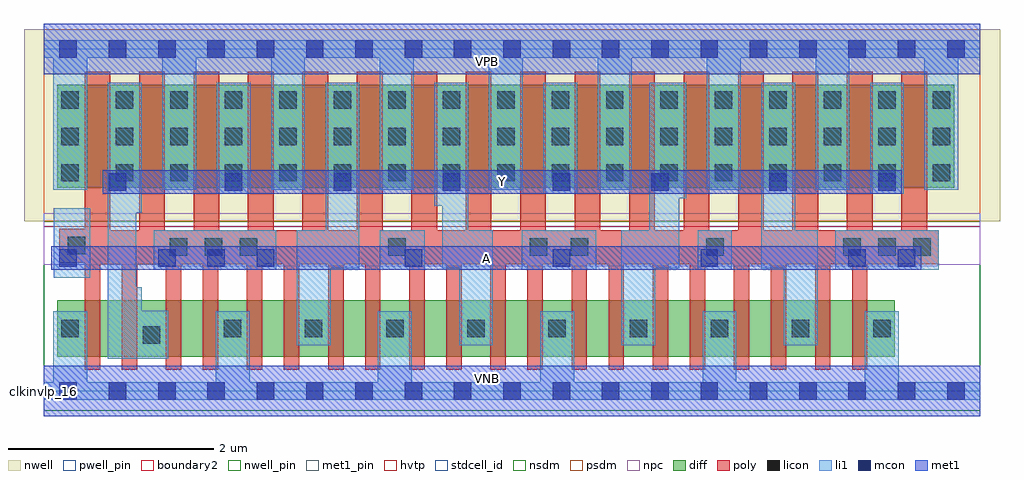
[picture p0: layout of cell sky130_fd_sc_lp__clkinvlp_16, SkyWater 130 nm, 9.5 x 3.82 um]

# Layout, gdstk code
import gdstk
lib = gdstk.Library(unit=1e-6, precision=1e-09)
def R(c, l, rs):  # rectangles x0, y0, x1, y1
    for r in rs: c.add(gdstk.rectangle(r[:2], r[2:], *l))
def A(c, l, x, y, w, h, nx, ny, dx, dy):  # array of equal rectangles
    R(c, l, [(x+i*dx, y+j*dy, x+i*dx+w, y+j*dy+h) for i in range(nx) for j in range(ny)])
def P(c, l, *ps):  # polygons
    for p in ps: c.add(gdstk.Polygon(p, *l))
nwell_pin = (64, 16)
nwell = (64, 20)
diff = (65, 20)
poly = (66, 20)
licon = (66, 44)
li1 = (67, 20)
mcon = (67, 44)
met1_pin = (68, 16)
met1 = (68, 20)
hvtp = (78, 44)
stdcell_id = (81, 4)
nsdm = (93, 44)
psdm = (94, 20)
npc = (95, 20)
pwell_pin = (122, 16)
boundary2 = (236, 0)

sky130_fd_sc_lp__clkinvl = lib.new_cell('sky130_fd_sc_lp__clkinvlp_16')
R(sky130_fd_sc_lp__clkinvl, nwell_pin, [(0,3.085,9.12,3.33)])
R(sky130_fd_sc_lp__clkinvl, nwell, [(-0.19,1.655,9.31,3.52)])
R(sky130_fd_sc_lp__clkinvl, diff, [(0.135,0.335,8.285,0.885), (0.135,1.98,8.865,2.98)])
P(sky130_fd_sc_lp__clkinvl, poly, [(8.715,1.565),(8.6,1.565),(8.6,3.11),(8.35,3.11),(8.35,1.565),(8.07,1.565),(8.07,3.11),(7.82,3.11),(7.82,1.565),(7.54,1.565),(7.54,3.11),(7.29,3.11),(7.29,1.565),(7.01,1.565),(7.01,3.11),(6.76,3.11),(6.76,1.565),(6.48,1.565),(6.48,3.11),(6.23,3.11),(6.23,1.565),(5.95,1.565),(5.95,3.11),(5.7,3.11),(5.7,1.565),(5.42,1.565),(5.42,3.11),(5.17,3.11),(5.17,1.565),(4.89,1.565),(4.89,3.11),(4.64,3.11),(4.64,1.565),(4.36,1.565),(4.36,3.11),(4.11,3.11),(4.11,1.565),(3.83,1.565),(3.83,3.11),(3.58,3.11),(3.58,1.565),(3.3,1.565),(3.3,3.11),(3.05,3.11),(3.05,1.565),(2.77,1.565),(2.77,3.11),(2.52,3.11),(2.52,1.565),(2.24,1.565),(2.24,3.11),(1.99,3.11),(1.99,1.565),(1.71,1.565),(1.71,3.11),(1.46,3.11),(1.46,1.565),(1.18,1.565),(1.18,3.11),(0.93,3.11),(0.93,1.565),(0.65,1.565),(0.65,3.11),(0.4,3.11),(0.4,1.58),(0.155,1.58),(0.155,1.25),(0.4,1.25),(0.4,0.205),(0.55,0.205),(0.55,1.235),(0.76,1.235),(0.76,0.205),(0.91,0.205),(0.91,1.235),(1.19,1.235),(1.19,0.205),(1.34,0.205),(1.34,1.235),(1.55,1.235),(1.55,0.205),(1.7,0.205),(1.7,1.235),(1.98,1.235),(1.98,0.205),(2.13,0.205),(2.13,1.235),(2.34,1.235),(2.34,0.205),(2.49,0.205),(2.49,1.235),(2.77,1.235),(2.77,0.205),(2.92,0.205),(2.92,1.235),(3.13,1.235),(3.13,0.205),(3.28,0.205),(3.28,1.235),(3.56,1.235),(3.56,0.205),(3.71,0.205),(3.71,1.235),(3.92,1.235),(3.92,0.205),(4.07,0.205),(4.07,1.235),(4.35,1.235),(4.35,0.205),(4.5,0.205),(4.5,1.235),(4.71,1.235),(4.71,0.205),(4.86,0.205),(4.86,1.235),(5.14,1.235),(5.14,0.205),(5.29,0.205),(5.29,1.235),(5.5,1.235),(5.5,0.205),(5.65,0.205),(5.65,1.235),(5.93,1.235),(5.93,0.205),(6.08,0.205),(6.08,1.235),(6.29,1.235),(6.29,0.205),(6.44,0.205),(6.44,1.235),(6.72,1.235),(6.72,0.205),(6.87,0.205),(6.87,1.235),(7.08,1.235),(7.08,0.205),(7.23,0.205),(7.23,1.235),(7.51,1.235),(7.51,0.205),(7.66,0.205),(7.66,1.235),(7.87,1.235),(7.87,0.205),(8.02,0.205),(8.02,1.235),(8.715,1.235)])
A(sky130_fd_sc_lp__clkinvl, licon, 1.755, 0.525, 0.17, 0.17, 9, 1, 0.79, 0)
A(sky130_fd_sc_lp__clkinvl, licon, 1.23, 1.315, 0.17, 0.17, 3, 1, 0.34, 0)
A(sky130_fd_sc_lp__clkinvl, licon, 7.785, 1.315, 0.17, 0.17, 3, 1, 0.34, 0)
A(sky130_fd_sc_lp__clkinvl, licon, 0.175, 2.04, 0.17, 0.17, 17, 3, 0.53, 0.355)
R(sky130_fd_sc_lp__clkinvl, licon, [(0.965,0.46,1.135,0.63), (0.175,0.525,0.345,0.695), (3.355,1.315,3.525,1.485), (4.735,1.315,4.905,1.485), (5.13,1.315,5.3,1.485), (6.45,1.315,6.62,1.485), (0.235,1.33,0.405,1.5)])
A(sky130_fd_sc_lp__clkinvl, li1, 1.685, 1.92, 0.33, 1.08, 3, 1, 3.18, 0)
R(sky130_fd_sc_lp__clkinvl, li1, [(0.1,1.105,0.455,1.78), (1.075,1.18,2.265,1.565), (3.275,1.18,3.71,1.565), (4.655,1.18,5.38,1.565), (6.37,1.18,6.7,1.565), (7.705,1.18,8.715,1.565)])
P(sky130_fd_sc_lp__clkinvl, li1, [(7.535,1.565),(7.315,1.565),(7.315,3),(6.985,3),(6.985,1.195),(7.205,1.195),(7.205,0.445),(7.535,0.445)],
  [(3.075,3),(2.745,3),(2.745,1.565),(2.465,1.565),(2.465,0.445),(2.795,0.445),(2.795,1.195),(3.075,1.195)],
  [(1.215,0.78),(0.955,0.78),(0.955,1.01),(0.905,1.01),(0.905,1.735),(0.955,1.735),(0.955,3),(0.625,3),(0.625,0.315),(1.215,0.315)],
  [(6.255,3),(5.895,3),(5.895,1.565),(5.625,1.565),(5.625,0.445),(5.955,0.445),(5.955,1.195),(6.19,1.195),(6.19,1.875),(6.255,1.875)],
  [(4.375,1.565),(4.135,1.565),(4.135,3),(3.805,3),(3.805,1.805),(3.88,1.805),(3.88,1.195),(4.045,1.195),(4.045,0.445),(4.375,0.445)],
  [(9.12,3.415),(0,3.415),(0,3.245),(0.095,3.245),(0.095,1.96),(0.425,1.96),(0.425,3.245),(1.155,3.245),(1.155,1.96),(1.485,1.96),(1.485,3.245),(2.215,3.245),(2.215,1.96),(2.545,1.96),(2.545,3.245),(3.275,3.245),(3.275,1.96),(3.605,1.96),(3.605,3.245),(4.335,3.245),(4.335,1.96),(4.665,1.96),(4.665,3.245),(5.395,3.245),(5.395,1.96),(5.725,1.96),(5.725,3.245),(6.455,3.245),(6.455,1.96),(6.785,1.96),(6.785,3.245),(7.515,3.245),(7.515,1.96),(7.845,1.96),(7.845,3.245),(8.575,3.245),(8.575,1.96),(8.905,1.96),(8.905,3.245),(9.12,3.245)],
  [(9.12,0.085),(8.325,0.085),(8.325,0.775),(7.995,0.775),(7.995,0.085),(6.745,0.085),(6.745,0.775),(6.415,0.775),(6.415,0.085),(5.165,0.085),(5.165,0.775),(4.835,0.775),(4.835,0.085),(3.585,0.085),(3.585,0.775),(3.255,0.775),(3.255,0.085),(2.005,0.085),(2.005,0.775),(1.675,0.775),(1.675,0.085),(0.425,0.085),(0.425,0.775),(0.095,0.775),(0.095,0.085),(0,0.085),(0,-0.085),(9.12,-0.085)])
A(sky130_fd_sc_lp__clkinvl, mcon, 0.155, -0.085, 0.17, 0.17, 19, 2, 0.48, 3.33)
A(sky130_fd_sc_lp__clkinvl, mcon, 1.115, 1.21, 0.17, 0.17, 3, 1, 0.48, 0)
A(sky130_fd_sc_lp__clkinvl, mcon, 3.515, 1.21, 0.17, 0.17, 4, 1, 1.44, 0)
A(sky130_fd_sc_lp__clkinvl, mcon, 1.765, 1.95, 0.17, 0.17, 3, 1, 1.06, 0)
R(sky130_fd_sc_lp__clkinvl, mcon, [(0.155,1.21,0.325,1.38), (8.315,1.21,8.485,1.38), (0.635,1.95,0.805,2.12), (4.955,1.95,5.125,2.12), (5.915,1.95,6.085,2.12), (7.065,1.95,7.235,2.12), (8.125,1.95,8.295,2.12)])
R(sky130_fd_sc_lp__clkinvl, met1_pin, [(0,0,9.12,0.245), (0.075,1.18,8.545,1.41), (0.575,1.92,8.355,2.15), (0,3.085,9.12,3.33)])
R(sky130_fd_sc_lp__clkinvl, met1, [(0,-0.245,9.12,0.245), (0.075,1.18,8.545,1.41), (0.575,1.92,8.355,2.15), (0,3.085,9.12,3.575)])
R(sky130_fd_sc_lp__clkinvl, hvtp, [(0,1.6,9.12,3.33)])
R(sky130_fd_sc_lp__clkinvl, stdcell_id, [(0,0,9.12,3.33)])
R(sky130_fd_sc_lp__clkinvl, nsdm, [(0,-0.19,9.12,1.655)])
R(sky130_fd_sc_lp__clkinvl, psdm, [(0,1.655,9.12,3.52)])
P(sky130_fd_sc_lp__clkinvl, npc, [(9.12,1.73),(0,1.73),(0,1.23),(1.13,1.23),(1.13,1.215),(8.7,1.215),(8.7,1.23),(9.12,1.23)])
R(sky130_fd_sc_lp__clkinvl, pwell_pin, [(0,0,9.12,0.245)])
R(sky130_fd_sc_lp__clkinvl, boundary2, [(0,0,9.12,3.33)])
sky130_fd_sc_lp__clkinvl.add(gdstk.Label('VNB', (4.32,0.123), layer=64, texttype=59))
sky130_fd_sc_lp__clkinvl.add(gdstk.Label('VPB', (4.32,3.208), layer=64, texttype=5))
sky130_fd_sc_lp__clkinvl.add(gdstk.Label('clkinvlp_16', (0,0), layer=83, texttype=44))
sky130_fd_sc_lp__clkinvl.add(gdstk.Label('Y', (4.465,2.035), layer=68, texttype=5))
sky130_fd_sc_lp__clkinvl.add(gdstk.Label('A', (4.31,1.295), layer=68, texttype=5))
sky130_fd_sc_lp__clkinvl.add(gdstk.Label('VPWR', (4.32,3.208), layer=68, texttype=5))
sky130_fd_sc_lp__clkinvl.add(gdstk.Label('VGND', (4.32,0.123), layer=68, texttype=5))

lib.write_gds('sky130_fd_sc_lp__clkinvlp_16.gds')
